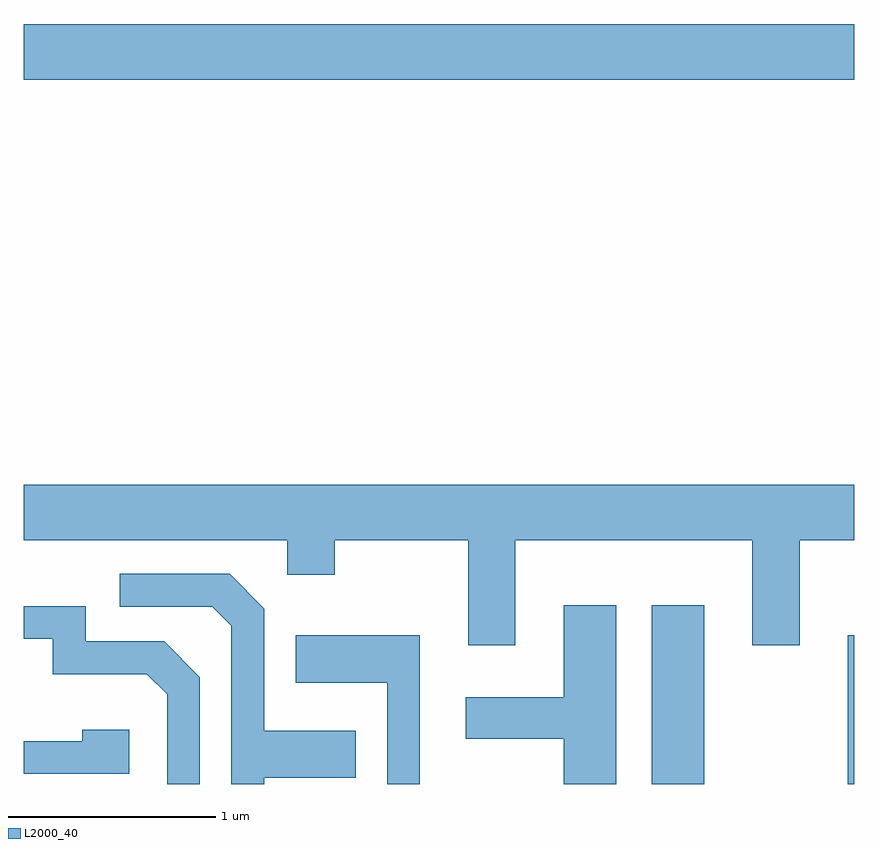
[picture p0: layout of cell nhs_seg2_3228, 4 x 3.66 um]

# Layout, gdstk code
import gdstk
lib = gdstk.Library(unit=1e-6, precision=1e-09)
def R(c, l, rs):  # rectangles x0, y0, x1, y1
    for r in rs: c.add(gdstk.rectangle(r[:2], r[2:], *l))
def P(c, l, *ps):  # polygons
    for p in ps: c.add(gdstk.Polygon(p, *l))
L2000_40 = (2000, 40)

nhs_seg2_3228 = lib.new_cell('nhs_seg2_3228')
R(nhs_seg2_3228, L2000_40, [(282.636,1053.802,282.889,1054.664), (283.581,1053.802,283.611,1054.519), (279.611,1057.196,283.611,1057.464)])
P(nhs_seg2_3228, L2000_40, [(281.979,1054.976),(283.121,1054.976),(283.121,1054.471),(283.349,1054.471),(283.349,1054.976),(283.611,1054.976),(283.611,1055.244),(279.611,1055.244),(279.611,1054.976),(280.881,1054.976),(280.881,1054.811),(281.109,1054.811),(281.109,1054.976),(281.751,1054.976),(281.751,1054.471),(281.979,1054.471)],
  [(280.769,1053.831),(281.209,1053.831),(281.209,1054.059),(280.769,1054.059),(280.769,1054.647),(280.602,1054.814),(280.073,1054.814),(280.073,1054.656),(280.519,1054.656),(280.611,1054.564),(280.611,1053.802),(280.769,1053.802)],
  [(282.464,1054.664),(282.211,1054.664),(282.211,1054.219),(281.741,1054.219),(281.741,1054.021),(282.211,1054.021),(282.211,1053.802),(282.464,1053.802)],
  [(280.459,1054.317),(280.287,1054.489),(279.909,1054.489),(279.909,1054.659),(279.611,1054.659),(279.611,1054.501),(279.751,1054.501),(279.751,1054.331),(280.204,1054.331),(280.301,1054.234),(280.301,1053.802),(280.459,1053.802)],
  [(281.519,1054.519),(280.921,1054.519),(280.921,1054.291),(281.361,1054.291),(281.361,1053.802),(281.519,1053.802)],
  [(280.119,1054.064),(279.891,1054.064),(279.891,1054.009),(279.611,1054.009),(279.611,1053.851),(280.119,1053.851)])

lib.write_gds('nhs_seg2_3228.gds')
